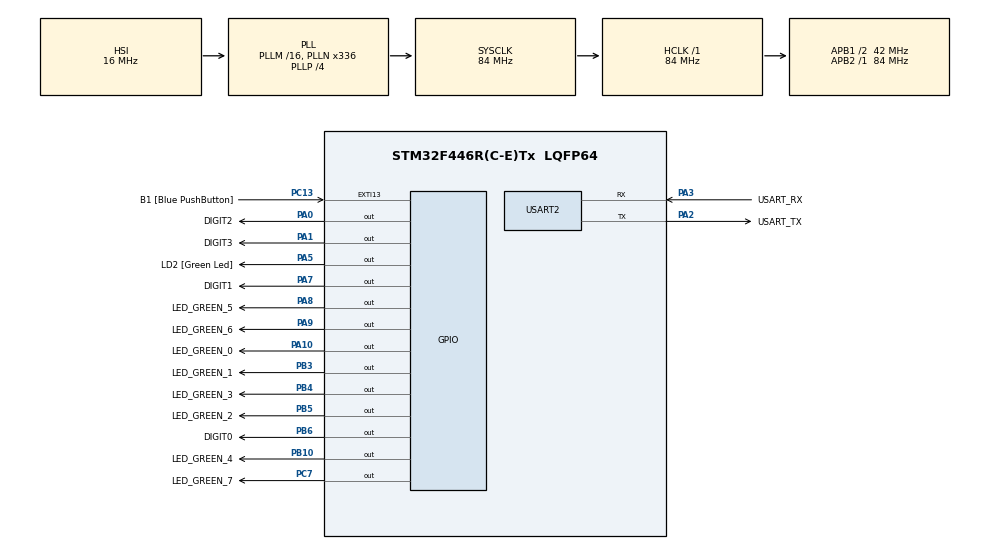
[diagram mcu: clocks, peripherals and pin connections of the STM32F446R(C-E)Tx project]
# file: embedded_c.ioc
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Mcu.Family=STM32F4
Mcu.Name=STM32F446R(C-E)Tx
Mcu.Package=LQFP64
NVIC.PriorityGroup=NVIC_PRIORITYGROUP_0
NVIC.TIM6_DAC_IRQn=true\:0\:0\:false\:false\:true\:true\:true\:true
PA0-WKUP.GPIO_Label=DIGIT2
PA0-WKUP.Signal=GPIO_Output
PA1.GPIO_Label=DIGIT3
PA1.Signal=GPIO_Output
PA10.GPIO_Label=LED_GREEN_0
PA10.Signal=GPIO_Output
PA13.GPIO_Label=TMS
PA13.Mode=Serial_Wire
PA13.Signal=SYS_JTMS-SWDIO
PA14.GPIO_Label=TCK
PA14.Mode=Serial_Wire
PA14.Signal=SYS_JTCK-SWCLK
PA2.GPIO_Label=USART_TX
PA2.Mode=Asynchronous
PA2.Signal=USART2_TX
PA3.GPIO_Label=USART_RX
PA3.Mode=Asynchronous
PA3.Signal=USART2_RX
PA5.GPIO_Label=LD2 [Green Led]
PA5.Signal=GPIO_Output
PA7.GPIO_Label=DIGIT1
PA7.Signal=GPIO_Output
PA8.GPIO_Label=LED_GREEN_5
PA8.Signal=GPIO_Output
PA9.GPIO_Label=LED_GREEN_6
PA9.Signal=GPIO_Output
PB10.GPIO_Label=LED_GREEN_4
PB10.Signal=GPIO_Output
PB3.GPIO_Label=LED_GREEN_1
PB3.Signal=GPIO_Output
PB4.GPIO_Label=LED_GREEN_3
PB4.Signal=GPIO_Output
PB5.GPIO_Label=LED_GREEN_2
PB5.Signal=GPIO_Output
PB6.GPIO_Label=DIGIT0
PB6.Signal=GPIO_Output
PC13.GPIO_Label=B1 [Blue PushButton]
PC13.GPIO_ModeDefaultEXTI=GPIO_MODE_IT_FALLING
PC13.Signal=GPXTI13
PC14-OSC32_IN.Mode=LSE-External-Oscillator
PC14-OSC32_IN.Signal=RCC_OSC32_IN
PC15-OSC32_OUT.Mode=LSE-External-Oscillator
PC15-OSC32_OUT.Signal=RCC_OSC32_OUT
PC7.GPIO_Label=LED_GREEN_7
PC7.Signal=GPIO_Output
PH0-OSC_IN.Mode=HSE-External-Oscillator
PH0-OSC_IN.Signal=RCC_OSC_IN
PH1-OSC_OUT.Mode=HSE-External-Oscillator
PH1-OSC_OUT.Signal=RCC_OSC_OUT
ProjectManager.HeapSize=0x1000
ProjectManager.StackSize=0x2000
ProjectManager.TargetToolchain=STM32CubeIDE
RCC.48MHZClocksFreq_Value=84000000
RCC.AHBFreq_Value=84000000
RCC.APB1CLKDivider=RCC_HCLK_DIV2
RCC.APB1Freq_Value=42000000
RCC.APB1TimFreq_Value=84000000
RCC.APB2Freq_Value=84000000
RCC.APB2TimFreq_Value=84000000
RCC.CortexFreq_Value=84000000
RCC.FLatency-AdvancedSettings=FLASH_LATENCY_2
RCC.HCLKFreq_Value=84000000
RCC.HSE_VALUE=8000000
RCC.HSI_VALUE=16000000
RCC.PLLN=336
RCC.PLLP=RCC_PLLP_DIV4
RCC.SYSCLKFreq_VALUE=84000000
RCC.SYSCLKSource=RCC_SYSCLKSOURCE_PLLCLK
RCC.USBFreq_Value=168000000
RCC.VCOOutputFreq_Value=336000000
TIM6.Period=9
TIM6.Prescaler=1049
USART2.VirtualMode=VM_ASYNC
VP_TIM6_VS_ClockSourceINT.Mode=Enable_Timer
board=NUCLEO-F446RE

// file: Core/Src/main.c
/* USER CODE BEGIN Header */
/**
  ******************************************************************************
  * @file           : main.c
  * @brief          : Main program body
  ******************************************************************************
  * @attention
  *
  * Copyright (c) 2025 STMicroelectronics.
  * All rights reserved.
  *
  * This software is licensed under terms that can be found in the LICENSE file
  * in the root directory of this software component.
  * If no LICENSE file comes with this software, it is provided AS-IS.
  *
  ******************************************************************************
  */
/* USER CODE END Header */
#include "main.h"

/* USER CODE BEGIN Includes */
#include <stdio.h>
#include <stdbool.h>
#include <stdint.h>
#include <math.h>

#include "seven_seg.h"
/* USER CODE END Includes */

TIM_HandleTypeDef htim6;

UART_HandleTypeDef huart2;

void SystemClock_Config(void);
static void MX_GPIO_Init(void);
static void MX_USART2_UART_Init(void);
static void MX_TIM6_Init(void);

/* USER CODE BEGIN 0 */
uint16_t cntr = 0;

/* USER CODE END 0 */

int main(void)
{

  /* MCU Configuration--------------------------------------------------------*/

  /* Reset of all peripherals, Initializes the Flash interface and the Systick. */
  HAL_Init();

  /* Configure the system clock */
  SystemClock_Config();

  /* Initialize all configured peripherals */
  MX_GPIO_Init();
  MX_USART2_UART_Init();
  MX_TIM6_Init();
  /* USER CODE BEGIN 2 */
  HAL_GPIO_WritePin(DIGIT0_GPIO_Port, DIGIT0_Pin, GPIO_PIN_SET);
  HAL_GPIO_WritePin(DIGIT1_GPIO_Port, DIGIT1_Pin, GPIO_PIN_SET);
  HAL_GPIO_WritePin(DIGIT2_GPIO_Port, DIGIT2_Pin, GPIO_PIN_SET);
  HAL_GPIO_WritePin(DIGIT3_GPIO_Port, DIGIT3_Pin, GPIO_PIN_SET);
  HAL_TIM_Base_Start_IT(&htim6);
  /* USER CODE END 2 */

  /* Infinite loop */
  /* USER CODE BEGIN WHILE */
  SSD_printDecInt16(-1);
  SSD_triggerUpdate = true;
  HAL_Delay(1500);
  SSD_printDecInt16(-10);
  SSD_triggerUpdate = true;
  HAL_Delay(1500);
  SSD_printDecInt16(-100);
  SSD_triggerUpdate = true;
  HAL_Delay(1500);
  SSD_printDecInt16(-1000);
  SSD_triggerUpdate = true;
  HAL_Delay(1500);
  while (1)
  {
	printf("Hello world! cntr: %d\r\n", cntr);
	cntr++;
    HAL_Delay(500);
    /* USER CODE END WHILE */

  }
}

void SystemClock_Config(void)
{
  RCC_OscInitTypeDef RCC_OscInitStruct = {0};
  RCC_ClkInitTypeDef RCC_ClkInitStruct = {0};

  /** Configure the main internal regulator output voltage
  */
  __HAL_RCC_PWR_CLK_ENABLE();
  __HAL_PWR_VOLTAGESCALING_CONFIG(PWR_REGULATOR_VOLTAGE_SCALE3);

  /** Initializes the RCC Oscillators according to the specified parameters
  * in the RCC_OscInitTypeDef structure.
  */
  RCC_OscInitStruct.OscillatorType = RCC_OSCILLATORTYPE_HSI;
  RCC_OscInitStruct.HSIState = RCC_HSI_ON;
  RCC_OscInitStruct.HSICalibrationValue = RCC_HSICALIBRATION_DEFAULT;
  RCC_OscInitStruct.PLL.PLLState = RCC_PLL_ON;
  RCC_OscInitStruct.PLL.PLLSource = RCC_PLLSOURCE_HSI;
  RCC_OscInitStruct.PLL.PLLM = 16;
  RCC_OscInitStruct.PLL.PLLN = 336;
  RCC_OscInitStruct.PLL.PLLP = RCC_PLLP_DIV4;
  RCC_OscInitStruct.PLL.PLLQ = 2;
  RCC_OscInitStruct.PLL.PLLR = 2;
  if (HAL_RCC_OscConfig(&RCC_OscInitStruct) != HAL_OK)
  {
    Error_Handler();
  }

  /** Initializes the CPU, AHB and APB buses clocks
  */
  RCC_ClkInitStruct.ClockType = RCC_CLOCKTYPE_HCLK|RCC_CLOCKTYPE_SYSCLK
                              |RCC_CLOCKTYPE_PCLK1|RCC_CLOCKTYPE_PCLK2;
  RCC_ClkInitStruct.SYSCLKSource = RCC_SYSCLKSOURCE_PLLCLK;
  RCC_ClkInitStruct.AHBCLKDivider = RCC_SYSCLK_DIV1;
  RCC_ClkInitStruct.APB1CLKDivider = RCC_HCLK_DIV2;
  RCC_ClkInitStruct.APB2CLKDivider = RCC_HCLK_DIV1;

  if (HAL_RCC_ClockConfig(&RCC_ClkInitStruct, FLASH_LATENCY_2) != HAL_OK)
  {
    Error_Handler();
  }
}

static void MX_TIM6_Init(void)
{

  TIM_MasterConfigTypeDef sMasterConfig = {0};

  htim6.Instance = TIM6;
  htim6.Init.Prescaler = 1049;
  htim6.Init.CounterMode = TIM_COUNTERMODE_UP;
  htim6.Init.Period = 9;
  htim6.Init.AutoReloadPreload = TIM_AUTORELOAD_PRELOAD_DISABLE;
  if (HAL_TIM_Base_Init(&htim6) != HAL_OK)
  {
    Error_Handler();
  }
  sMasterConfig.MasterOutputTrigger = TIM_TRGO_RESET;
  sMasterConfig.MasterSlaveMode = TIM_MASTERSLAVEMODE_DISABLE;
  if (HAL_TIMEx_MasterConfigSynchronization(&htim6, &sMasterConfig) != HAL_OK)
  {
    Error_Handler();
  }

}

static void MX_USART2_UART_Init(void)
{

  huart2.Instance = USART2;
  huart2.Init.BaudRate = 115200;
  huart2.Init.WordLength = UART_WORDLENGTH_8B;
  huart2.Init.StopBits = UART_STOPBITS_1;
  huart2.Init.Parity = UART_PARITY_NONE;
  huart2.Init.Mode = UART_MODE_TX_RX;
  huart2.Init.HwFlowCtl = UART_HWCONTROL_NONE;
  huart2.Init.OverSampling = UART_OVERSAMPLING_16;
  if (HAL_UART_Init(&huart2) != HAL_OK)
  {
    Error_Handler();
  }

}

static void MX_GPIO_Init(void)
{
  GPIO_InitTypeDef GPIO_InitStruct = {0};

  /* GPIO Ports Clock Enable */
  __HAL_RCC_GPIOC_CLK_ENABLE();
  __HAL_RCC_GPIOH_CLK_ENABLE();
  __HAL_RCC_GPIOA_CLK_ENABLE();
  __HAL_RCC_GPIOB_CLK_ENABLE();

  /*Configure GPIO pin Output Level */
  HAL_GPIO_WritePin(GPIOA, DIGIT2_Pin|DIGIT3_Pin|LD2_Pin|DIGIT1_Pin
                          |LED_GREEN_5_Pin|LED_GREEN_6_Pin|LED_GREEN_0_Pin, GPIO_PIN_RESET);

  /*Configure GPIO pin Output Level */
  HAL_GPIO_WritePin(GPIOB, LED_GREEN_4_Pin|LED_GREEN_1_Pin|LED_GREEN_3_Pin|LED_GREEN_2_Pin
                          |DIGIT0_Pin, GPIO_PIN_RESET);

  /*Configure GPIO pin Output Level */
  HAL_GPIO_WritePin(LED_GREEN_7_GPIO_Port, LED_GREEN_7_Pin, GPIO_PIN_RESET);

  /*Configure GPIO pin : B1_Pin */
  GPIO_InitStruct.Pin = B1_Pin;
  GPIO_InitStruct.Mode = GPIO_MODE_IT_FALLING;
  GPIO_InitStruct.Pull = GPIO_NOPULL;
  HAL_GPIO_Init(B1_GPIO_Port, &GPIO_InitStruct);

  /*Configure GPIO pins : DIGIT2_Pin DIGIT3_Pin LD2_Pin DIGIT1_Pin
                           LED_GREEN_5_Pin LED_GREEN_6_Pin LED_GREEN_0_Pin */
  GPIO_InitStruct.Pin = DIGIT2_Pin|DIGIT3_Pin|LD2_Pin|DIGIT1_Pin
                          |LED_GREEN_5_Pin|LED_GREEN_6_Pin|LED_GREEN_0_Pin;
  GPIO_InitStruct.Mode = GPIO_MODE_OUTPUT_PP;
  GPIO_InitStruct.Pull = GPIO_NOPULL;
  GPIO_InitStruct.Speed = GPIO_SPEED_FREQ_LOW;
  HAL_GPIO_Init(GPIOA, &GPIO_InitStruct);

  /*Configure GPIO pins : LED_GREEN_4_Pin LED_GREEN_1_Pin LED_GREEN_3_Pin LED_GREEN_2_Pin
                           DIGIT0_Pin */
  GPIO_InitStruct.Pin = LED_GREEN_4_Pin|LED_GREEN_1_Pin|LED_GREEN_3_Pin|LED_GREEN_2_Pin
                          |DIGIT0_Pin;
  GPIO_InitStruct.Mode = GPIO_MODE_OUTPUT_PP;
  GPIO_InitStruct.Pull = GPIO_NOPULL;
  GPIO_InitStruct.Speed = GPIO_SPEED_FREQ_LOW;
  HAL_GPIO_Init(GPIOB, &GPIO_InitStruct);

  /*Configure GPIO pin : LED_GREEN_7_Pin */
  GPIO_InitStruct.Pin = LED_GREEN_7_Pin;
  GPIO_InitStruct.Mode = GPIO_MODE_OUTPUT_PP;
  GPIO_InitStruct.Pull = GPIO_NOPULL;
  GPIO_InitStruct.Speed = GPIO_SPEED_FREQ_LOW;
  HAL_GPIO_Init(LED_GREEN_7_GPIO_Port, &GPIO_InitStruct);

}

void Error_Handler(void)
{
  __disable_irq();
  while (1)
  {
  }
}
